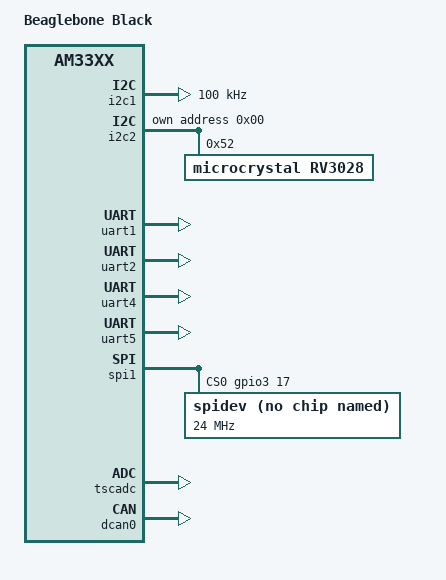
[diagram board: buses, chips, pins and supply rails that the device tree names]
/*
 * Copyright (C) 2017 Kubos Corporation
 *
 * Licensed under the Apache License, Version 2.0 (the "License");
 * you may not use this file except in compliance with the License.
 * You may obtain a copy of the License at
 *
 *     http://www.apache.org/licenses/LICENSE-2.0
 *
 * Unless required by applicable law or agreed to in writing, software
 * distributed under the License is distributed on an "AS IS" BASIS,
 * WITHOUT WARRANTIES OR CONDITIONS OF ANY KIND, either express or implied.
 * See the License for the specific language governing permissions and
 * limitations under the License.
 */
/dts-v1/;

#include "am33xx-boneblack.dtsi"
#include <dt-bindings/i2c/i2c.h>

/ {
	model = "Beaglebone Black";
	compatible = "kubos,bbb", "ti,am335x-bone-black", "ti,am335x-bone", "ti,am33xx";
};

&am33xx_pinmux {
	/*
	 * am335x-bone-common.dtsi already hogs clkout2_pin. Setting
	 * pinctrl-0 here replaces that property, so clkout2 stays listed.
	 * There is no gpio-of-helper driver in this kernel.
	 */
	pinctrl-names = "default";
	pinctrl-0 = <&clkout2_pin &satellite_gpio_pins>;

	/* Satellite Mission GPIO Configuration */
	satellite_gpio_pins: pinmux_satellite_gpio_pins {
		pinctrl-single,pins = <
			/* GPIO 1: P9.25 (MCASP0_AHCLKX -> gpio3_21) - VHF Serial In, Output, PDR */
			0x1ac (PIN_OUTPUT_PULLDOWN | MUX_MODE7)

			/* GPIO 2: P8.7  (GPMC_ADVN_ALE -> gpio2_2)  - VHF Serial Out, Input, PUR */
			0x090 (PIN_INPUT_PULLUP    | MUX_MODE7)

			/* GPIO 3: P9.27 (MCASP0_FSR    -> gpio3_19) - UHF Serial In, Output, PDR */
			0x1a4 (PIN_OUTPUT_PULLDOWN | MUX_MODE7)

			/* GPIO 4: P9.42 Ball C18 (ECAP0        -> gpio0_7)  - UHF Serial Out, Input, PUR */
			0x164 (PIN_INPUT_PULLUP    | MUX_MODE7)

			/* GPIO 4: P9.42 Ball B12 (MCASP0_ACLKR -> gpio3_18) - UHF Serial Out, Input, PUR */
			0x1a0 (PIN_INPUT_PULLUP    | MUX_MODE7)

			/* GPIO 5: P8.10 (GPMC_WEN      -> gpio2_4)  - +X Solar Panel Serial Out, Input, PUR */
			0x098 (PIN_INPUT_PULLUP    | MUX_MODE7)

			/* GPIO 6: P8.9  (GPMC_BEN0_CLE -> gpio2_5)  - -X Solar Panel Serial Out, Input, PUR */
			0x094 (PIN_INPUT_PULLUP    | MUX_MODE7)

			/* GPIO 7: P8.16 (GPMC_AD14     -> gpio1_14) - GNSS Enable, Output, PUR */
			0x038 (PIN_OUTPUT_PULLUP   | MUX_MODE7)

			/* GPIO 8: P8.26 (GPMC_CSN0     -> gpio1_29) - SNN Enable, Output, PDR */
			0x07c (PIN_OUTPUT_PULLDOWN | MUX_MODE7)

			/* GPIO 9: P8.8  (GPMC_OEN_REN  -> gpio2_3)  - CNN Boot, Output, PUR */
			0x08c (PIN_OUTPUT_PULLUP   | MUX_MODE7)

			/* GPIO 10: P9.12 (GPMC_BEN1 -> gpio1_28) - GNSS Reset, Output, PUR */
			0x078 (PIN_OUTPUT_PULLUP   | MUX_MODE7)

			/* GPIO 11: P9.15 (GPMC_A0 -> gpio1_16) - SNN Reset, Output, PDR */
			0x040 (PIN_OUTPUT_PULLDOWN | MUX_MODE7)

			/* ADCS Enable: P8.15 (GPMC_AD15 -> gpio1_15) - ADCS Enable Control, Output, PUR */
			0x03c (PIN_OUTPUT_PULLUP   | MUX_MODE7)
		>;
	};

	uart1_pins: pinmux_uart1_pins {
		pinctrl-single,pins = <
			0x184 (PIN_OUTPUT | MUX_MODE0)	/* TX  - P9.24 */
			0x180 (PIN_INPUT  | MUX_MODE0)	/* RX  - P9.26 */
			/* RTS/CTS conflicts with I2C2 */
		>;
	};

	uart2_pins: pinmux_uart2_pins {
		pinctrl-single,pins = <
			0x154 (PIN_OUTPUT | MUX_MODE1)	/* TX  - P9.21 */
			0x150 (PIN_INPUT  | MUX_MODE1)	/* RX  - P9.22 */
		>;
	};

	uart3_pins: pinmux_uart3_pins {
		pinctrl-single,pins = <
			0x164 (PIN_OUTPUT | MUX_MODE1)	/* TX  - P9.42 */
			0x0cc (PIN_OUTPUT | MUX_MODE6)	/* RTS - P8.34 */
			0x0c8 (PIN_INPUT  | MUX_MODE6)	/* CTS - P8.36 */
		>;
	};

	uart4_pins: pinmux_uart4_pins {
		pinctrl-single,pins = <
			0x074 (PIN_OUTPUT | MUX_MODE6)	/* TX  - P9.13 */
			0x070 (PIN_INPUT  | MUX_MODE6)	/* RX  - P9.11 */
			0x0d4 (PIN_OUTPUT | MUX_MODE6)	/* RTS - P8.33 */
			0x0d0 (PIN_INPUT  | MUX_MODE6)	/* CTS - P8.35 */
		>;
	};

	uart5_pins: pinmux_uart5_pins {
		pinctrl-single,pins = <
			0x0c0 (PIN_OUTPUT | MUX_MODE4)	/* TX  - P8.37 */
			0x0c4 (PIN_INPUT  | MUX_MODE4)	/* RX  - P8.38 */
			0x0dc (PIN_OUTPUT | MUX_MODE6)	/* RTS - P8.32 */
			0x0d8 (PIN_INPUT  | MUX_MODE6)	/* CTS - P8.31 */
		>;
	};

	i2c1_pins: pinmux_i2c1_pins {
		pinctrl-single,pins = <
			0x158 (PIN_INPUT_PULLUP | MUX_MODE2)	/* SDA - P9.18 */
			0x15c (PIN_INPUT_PULLUP | MUX_MODE2)	/* SCL - P9.17 */
		>;
	};

	spi1_pins: pinmux_spi1_pins {
		pinctrl-single,pins = <
			0x190 (PIN_INPUT_PULLUP  | MUX_MODE3)	/* SCLK - P9.31 */
			0x194 (PIN_INPUT_PULLUP  | MUX_MODE3)	/* MISO - P9.29 */
			0x198 (PIN_OUTPUT_PULLUP | MUX_MODE3)	/* MOSI - P9.30 */
			0x19c (PIN_OUTPUT_PULLUP | MUX_MODE3)	/* CS0  - P9.28 */
		>;
	};

	dcan0_pins_default: dcan0_pins_default {
		pinctrl-single,pins = <
			AM33XX_IOPAD(0x920, PIN_INPUT_PULLUP  | MUX_MODE1) /* MII1_TXD2 -> dcan0_rx */
			AM33XX_IOPAD(0x91c, PIN_OUTPUT_PULLUP | MUX_MODE1) /* MII1_TXD3 -> dcan0_tx */
		>;
	};

	dcan0_clk: dcan0_clk {
		#clock-cells = <0>;
		compatible = "fixed-clock";
		clock_frequency = <24000000>;
	};
};

&i2c1 {
	pinctrl-names = "default";
	pinctrl-0 = <&i2c1_pins>;
	clock-frequency = <100000>;
	status = "okay";
};

&i2c2 {
	status = "okay";

	/* OBC own address 0x09. The radios master-write frames here. */
	frameq@40000009 {
		compatible = "slave-frameq";
		reg = <(I2C_OWN_SLAVE_ADDRESS | 0x09)>;
	};

	rv3028: rtc@52 {
		compatible = "microcrystal,rv3028";
		reg = <0x52>;
	};
};

&uart1 {
	pinctrl-names = "default";
	pinctrl-0 = <&uart1_pins>;
	status = "okay";
};

&uart2 {
	pinctrl-names = "default";
	pinctrl-0 = <&uart2_pins>;
	status = "okay";
};

&uart3 {
	/* Pad 0x164 is P9.42 and is hogged as the UHF serial GPIO. */
	status = "disabled";
};

&uart4 {
	pinctrl-names = "default";
	pinctrl-0 = <&uart4_pins>;
	status = "okay";
};

&uart5 {
	pinctrl-names = "default";
	pinctrl-0 = <&uart5_pins>;
	status = "okay";
};

&spi1 {
	pinctrl-names = "default";
	pinctrl-0 = <&spi1_pins>;
	ti,spi-num-cs = <1>;
	/* gpio0_7 is P9.42 ball C18, claimed by the satellite GPIO hog. */
	cs-gpios = <&gpio3 17 0>;

	status = "okay";

	spidev@0 {
		spi-max-frequency = <24000000>;
		reg = <0>;
		compatible = "spidev";
	};
};

&tscadc {
	status = "okay";
	adc {
		ti,adc-channels = <0 1 2 3 4 5 6>;
		ti,chan-step-avg = <0x16 0x16 0x16 0x16 0x16 0x16 0x16>;
		ti,chan-step-opendelay = <0x98 0x98 0x98 0x98 0x98 0x98 0x98>;
		ti,chan-step-sampledelay = <0x0 0x0 0x0 0x0 0x0 0x0 0x0>;
	};
};

&dcan0 {
	compatible = "ti,am3352-d_can", "bosch,d_can";
	status = "okay";
	pinctrl-names = "default";
	pinctrl-0 = <&dcan0_pins_default>;
};

/* Disable CPSW Ethernet */
&mac {
	status = "disabled";
};

&cpsw_emac0 {
	status = "disabled";
};

&cpsw_emac1 {
	status = "disabled";
};

/* Disable McASP audio to release Ball B12 (0x1a0) on P9.42 */
&mcasp0 {
	status = "disabled";
};
